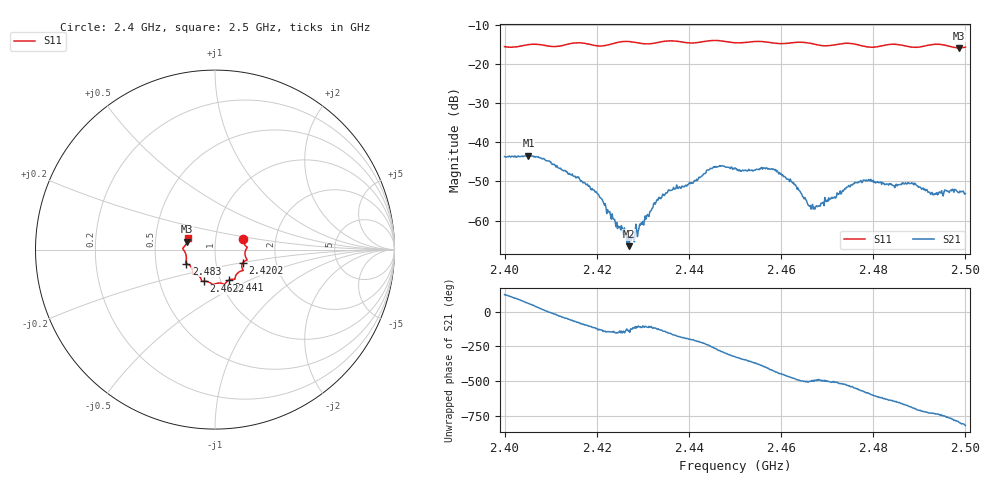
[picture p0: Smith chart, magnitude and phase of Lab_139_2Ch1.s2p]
# Hz S RI R 50
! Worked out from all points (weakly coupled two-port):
!   601 points, 2.4 GHz to 2.5 GHz, reference 50 ohm
!   highest |S21| = -43.36 dB at 2.4052 GHz (marker M1); lowest = -66.5 dB at 2.427 GHz (marker M2)
!   lowest |S11| = -15.8 dB at 2.4987 GHz (marker M3), VSWR 1.39, Z = 36.4 + j3.31 ohm
!   |S11| at or under -10 dB: start of sweep to end of sweep
!   S12 and S22 are empty: the file has one direction only
!   S11 on the Smith chart (normalised r, x): 2.4 GHz: 1.36, +0.17; 2.4202 GHz: 1.35, -0.20; 2.441 GHz: 1.09, -0.39; 2.4622 GHz: 0.83, -0.30; 2.483 GHz: 0.72, -0.12; 2.5 GHz: 0.73, +0.09
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2.4e9  0.1564 0.0602  -0.00342 0.00563  0 0  0 0
2.405167e9  0.1771 0.0148  0.00362 0.00575  0 0  0 0
2.4095e9  0.1706 -0.00265  0.00578 -0.000436  0 0  0 0
2.416667e9  0.1779 -0.0582  7.87e-05 -0.00323  0 0  0 0
2.420167e9  0.1558 -0.0722  -0.00125 -0.00181  0 0  0 0
2.427e9  0.1558 -0.1168  -0.000342 -0.000324  0 0  0 0
2.433333e9  0.1128 -0.1525  -0.000994 -0.00154  0 0  0 0
2.436167e9  0.1104 -0.1652  -0.00229 -0.000863  0 0  0 0
2.441e9  0.0766 -0.1705  -0.00283 0.0012  0 0  0 0
2.445167e9  0.0538 -0.1934  -0.00113 0.00457  0 0  0 0
2.45e9  0.0262 -0.1861  0.00377 0.00284  0 0  0 0
2.458333e9  -0.0275 -0.1845  0.00206 -0.00408  0 0  0 0
2.462167e9  -0.0636 -0.1764  -0.00114 -0.00298  0 0  0 0
2.466667e9  -0.0764 -0.1667  -0.00104 -0.00112  0 0  0 0
2.467833e9  -0.0802 -0.1577  -0.000927 -0.00119  0 0  0 0
2.476833e9  -0.1248 -0.1242  -0.00295 0.00107  0 0  0 0
2.483e9  -0.159 -0.078  -0.000133 0.00293  0 0  0 0
2.483333e9  -0.1606 -0.0775  0.000202 0.00284  0 0  0 0
2.488667e9  -0.1598 -0.0393  0.00258 0.00152  0 0  0 0
2.492833e9  -0.1784 0.0026  0.00224 -0.000302  0 0  0 0
2.498667e9  -0.1555 0.0443  0.000638 -0.0022  0 0  0 0
2.5e9  -0.1527 0.0631  -0.000164 -0.0022  0 0  0 0
